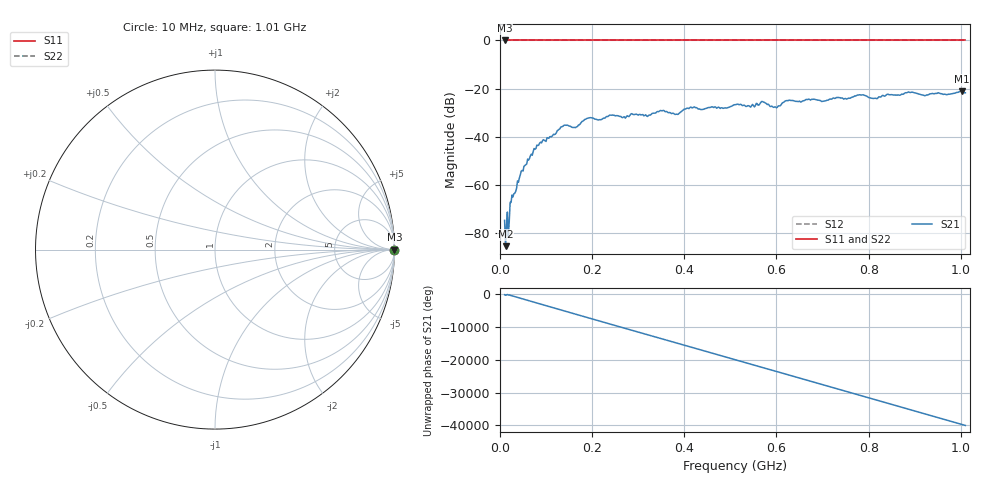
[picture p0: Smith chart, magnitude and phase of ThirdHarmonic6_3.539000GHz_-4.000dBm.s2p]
! 8/17/2025 11:39:01 AM
! C:\ANRITSUVNA\TEMP\TEMP.S2P
! CHANNEL.1
! TR.MEASUREMENT
! RAW.DATA
! RF.CORRECTION.OFF
! AVERAGING.OFF
! IF.BANDWIDTH: 5KHZ
! SWEEPTYPE:  FREQ.SWEEP(Linear)
! Reference Plane Port Info
! PORT:  PORT1  PORT2
! DISTANCE:  0  m  0  m
! TIME:  0  s  0  s
! PHASE.OFFSET:  0  deg.  0  deg.
! LOSS:  0  dB  0  dB
! REF.LOSS:  0  dB  0  dB
! REF.FREQ:  0  Hz  0  Hz
! Power Info
! POWER:  -20  dBm  -20  dBm
! EFF.POWER:  -20  dBm  -20  dBm
! SOURCE.ATTEN:  0  dB  0  dB
! TEST.ATTEN:  0  dB  0  dB
# GHZ S RI R 50.0
! FREQ.GHZ  S11RE  S11IM  S21RE  S21IM  S12RE  S12IM  S22RE  S22IM
!; PortSelection: Port_12
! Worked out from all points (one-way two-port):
!   501 points, 10 MHz to 1.01 GHz, reference 50 ohm
!   highest |S21| = -21.09 dB at 1.002 GHz (marker M1); lowest = -85.5 dB at 12 MHz (marker M2)
!   lowest |S11| = 0.0 dB at 10 MHz (marker M3)
!   |S11| at or under -10 dB: nowhere
!   |S22| runs from 0.0 to 0.0 dB; largest |S21 - S12| = 1.1
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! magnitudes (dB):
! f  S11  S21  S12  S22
! 10 MHz  0.0  -74.7  0.0  0.0
! 12 MHz  0.0  -85.5  0.0  0.0
! 16 MHz  0.0  -71.3  0.0  0.0
! 26 MHz  0.0  -64.2  0.0  0.0
! 42 MHz  0.0  -57.2  0.0  0.0
! 78 MHz  0.0  -44.9  0.0  0.0
! 136 MHz  0.0  -35.7  0.0  0.0
! 164 MHz  0.0  -36.2  0.0  0.0
! 178 MHz  0.0  -33.6  0.0  0.0
! 344 MHz  0.0  -29.6  0.0  0.0
! 384 MHz  0.0  -30.6  0.0  0.0
! 416 MHz  0.0  -27.9  0.0  0.0
! 510 MHz  0.0  -26.7  0.0  0.0
! 570 MHz  0.0  -25.4  0.0  0.0
! 598 MHz  0.0  -27.6  0.0  0.0
! 624 MHz  0.0  -25.0  0.0  0.0
! 678 MHz  0.0  -24.5  0.0  0.0
! 784 MHz  0.0  -22.7  0.0  0.0
! 814 MHz  0.0  -24.0  0.0  0.0
! 844 MHz  0.0  -22.5  0.0  0.0
! 1.002 GHz  0.0  -21.1  0.0  0.0
! 1.01 GHz  0.0  -21.7  0.0  0.0
